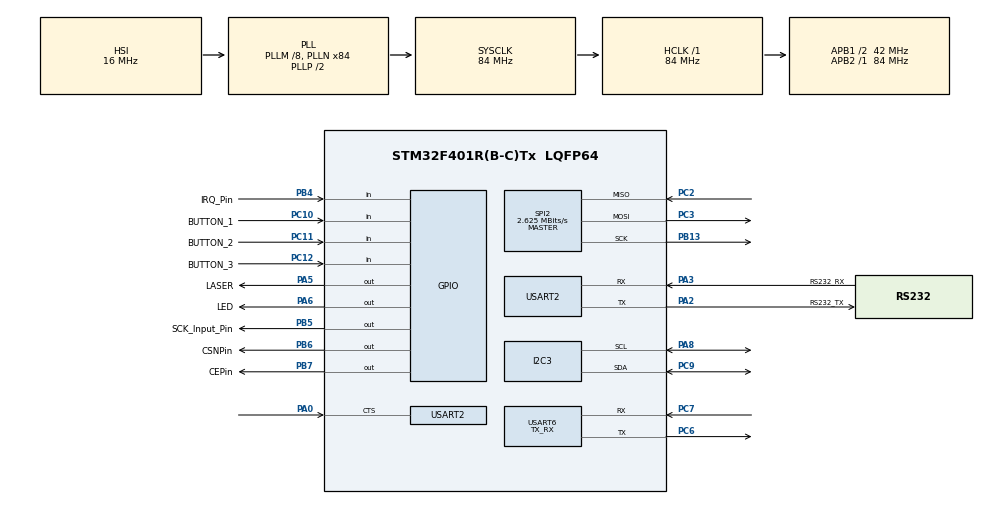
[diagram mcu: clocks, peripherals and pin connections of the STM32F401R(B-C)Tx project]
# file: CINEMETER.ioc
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I2C3.I2C_Mode=I2C_Fast
Mcu.Family=STM32F4
Mcu.Name=STM32F401R(B-C)Tx
Mcu.Package=LQFP64
NVIC.PriorityGroup=NVIC_PRIORITYGROUP_4
PA0-WKUP.Mode=CTS_Only
PA0-WKUP.Signal=USART2_CTS
PA13.Mode=Serial_Wire
PA13.Signal=SYS_JTMS-SWDIO
PA14.Mode=Serial_Wire
PA14.Signal=SYS_JTCK-SWCLK
PA2.GPIO_Label=RS232_TX
PA2.Mode=Asynchronous
PA2.Signal=USART2_TX
PA3.GPIO_Label=RS232_RX
PA3.Mode=Asynchronous
PA3.Signal=USART2_RX
PA5.GPIO_Label=LASER
PA5.Signal=GPIO_Output
PA6.GPIO_Label=LED
PA6.Signal=GPIO_Output
PA8.Mode=I2C
PA8.Signal=I2C3_SCL
PB13.Mode=Full_Duplex_Master
PB13.Signal=SPI2_SCK
PB3.Signal=SYS_JTDO-SWO
PB4.GPIO_Label=IRQ_Pin
PB4.Signal=GPIO_Input
PB5.GPIO_Label=SCK_Input_Pin
PB5.Signal=GPIO_Output
PB6.GPIO_Label=CSNPin
PB6.GPIO_Speed=GPIO_SPEED_FREQ_VERY_HIGH
PB6.Signal=GPIO_Output
PB7.GPIO_Label=CEPin 
PB7.GPIO_Speed=GPIO_SPEED_FREQ_VERY_HIGH
PB7.Signal=GPIO_Output
PC10.GPIO_Label=BUTTON_1
PC10.GPIO_PuPd=GPIO_PULLUP
PC10.Signal=GPIO_Input
PC11.GPIO_Label=BUTTON_2
PC11.GPIO_PuPd=GPIO_PULLUP
PC11.Signal=GPIO_Input
PC12.GPIO_Label=BUTTON_3
PC12.GPIO_PuPd=GPIO_PULLUP
PC12.Signal=GPIO_Input
PC2.Mode=Full_Duplex_Master
PC2.Signal=SPI2_MISO
PC3.Mode=Full_Duplex_Master
PC3.Signal=SPI2_MOSI
PC6.Mode=Asynchronous
PC6.Signal=USART6_TX
PC7.Mode=Asynchronous
PC7.Signal=USART6_RX
PC9.GPIO_Speed=GPIO_SPEED_FREQ_VERY_HIGH
PC9.Mode=I2C
PC9.Signal=I2C3_SDA
ProjectManager.HeapSize=0x200
ProjectManager.StackSize=0x400
ProjectManager.TargetToolchain=STM32CubeIDE
RCC.48MHZClocksFreq_Value=42000000
RCC.AHBFreq_Value=84000000
RCC.APB1CLKDivider=RCC_HCLK_DIV2
RCC.APB1Freq_Value=42000000
RCC.APB1TimFreq_Value=84000000
RCC.APB2Freq_Value=84000000
RCC.APB2TimFreq_Value=84000000
RCC.CortexFreq_Value=84000000
RCC.HCLKFreq_Value=84000000
RCC.HSE_VALUE=25000000
RCC.HSI_VALUE=16000000
RCC.LSE_VALUE=32768
RCC.PLLM=8
RCC.PLLN=84
RCC.SYSCLKFreq_VALUE=84000000
RCC.SYSCLKSource=RCC_SYSCLKSOURCE_PLLCLK
RCC.VCOOutputFreq_Value=168000000
SPI2.BaudRatePrescaler=SPI_BAUDRATEPRESCALER_16
SPI2.CalculateBaudRate=2.625 MBits/s
SPI2.Direction=SPI_DIRECTION_2LINES
SPI2.Mode=SPI_MODE_MASTER
SPI2.VirtualType=VM_MASTER
TIM10.Prescaler=8000-1
USART2.VirtualMode=VM_ASYNC
USART6.Mode=MODE_TX_RX
USART6.VirtualMode=VM_ASYNC
USART6.WordLength=WORDLENGTH_8B
VP_TIM10_VS_ClockSourceINT.Mode=Enable_Timer
board=custom

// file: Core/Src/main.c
/* USER CODE BEGIN Header */
/**
 ******************************************************************************
 * @file           : main.c
 * @brief          : Main program body
 ******************************************************************************
 * @attention
 *
 * Copyright (c) 2023 STMicroelectronics.
 * All rights reserved.
 *
 * This software is licensed under terms that can be found in the LICENSE file
 * in the root directory of this software component.
 * If no LICENSE file comes with this software, it is provided AS-IS.
 *
 ******************************************************************************
 */
/* USER CODE END Header */
#include "main.h"

/* USER CODE BEGIN Includes */
#include <stdbool.h>
#include "ssd1306.h"
#include "ssd1306_conf.h"
#include <stdio.h>
#include <string.h>
#include "stm32f4xx_hal.h"
#include "stm32f4xx_hal_uart.h"
#include "FLASH_SECTOR_F4.h"
#include "MY_NRF24.h"
#include "VL53L1X.h"
VL53L1X sensor1;
VL53L1X sensor2;
/* USER CODE END Includes */

I2C_HandleTypeDef hi2c3;

SPI_HandleTypeDef hspi2;

TIM_HandleTypeDef htim10;

UART_HandleTypeDef huart2;
UART_HandleTypeDef huart6;

/* USER CODE BEGIN PV */
#define USART_BUF_SIZE              9
#define LONG_PRESS_DURATION 100
#define LOW 0

// Constants

/*USART_BUFFER_SIZE*/
uint8_t usart_rx_buf[USART_BUF_SIZE];
// Constants

/*USART_BUFFER_SIZE*/
uint8_t usart_rx_buf[USART_BUF_SIZE];

/* USER CODE END PV */

void SystemClock_Config(void);
static void MX_GPIO_Init(void);
static void MX_SPI2_Init(void);
static void MX_USART2_UART_Init(void);
static void MX_USART6_UART_Init(void);
static void MX_I2C3_Init(void);
static void MX_TIM10_Init(void);

/* USER CODE BEGIN 0 */
const uint8_t HEADER = 0x59;
//char buffer[40];
char strength_buffer[20];
char ofst_buffer[20];
char tx_buffer[100];
char RS_buffer[100];
char rs232_1[20];
char rs232_2[20];
char dist_buffer[100];
char twosens[100];

char DistTransmit[20];
uint64_t TxpipeAddrs = 0x11223344AA;

uint16_t temp_d;
uint16_t timer_val;
double dist_rx;
#define TRUE  1
#define FALSE 0
//char dist_string[20];

uint16_t dist, strength = 0;
uint8_t checksum, chip_temp = 0;
uint32_t last_loop_time = 0;
const uint32_t LOOP_INTERVAL = 100;
const uint32_t LOOP_INTERVAL1 = 1000;
int count = 0;
int offset = 0;

int laser_on = 0;

int button1_pressed = 0;
int button2_pressed = 0;
int button3_pressed = 0;

int integer_part = 0;
int fractional_part = 0;

GPIO_TypeDef *Button1_Port = GPIOC;
GPIO_TypeDef *Button2_Port = GPIOC;
GPIO_TypeDef *Button3_Port = GPIOC;

uint16_t Button1_Pin = GPIO_PIN_11;
uint16_t Button2_Pin = GPIO_PIN_10;
uint16_t Button3_Pin = GPIO_PIN_12;

#define BUTTON_PORT          GPIOC
#define DEBOUNCE_INC_DELAY       0
#define DEBOUNCE_DEC_DELAY       80

#define BUTTON_UP_PIN GPIO_PIN_11
#define BUTTON_DOWN_PIN GPIO_PIN_12
#define BUTTON_SELECT_PIN GPIO_PIN_10

#define XSHUT_GPIO_Pin          8
#define XSHUT_GPIO_Port		GPIOB

#define XSHUT2_GPIO_Pin          9
#define XSHUT2_GPIO_Port		GPIOB

#define DISTANCE_THRESHOLD 3000
#define DISPLAY_DURATION_MS 200
#define ONE_SECOND 1000

//#define FLASH_USER_ADDR 0x0803000// Start address of the last sector (Sector 7, 16 Kbytes)
//#define FLASH_USER_END_ADDR 0x0803FFFF
//#define FLASH_USER_START_ADDR
// Define the structure to hold device settings

uint32_t lastButtonPressTime = 0;
#define BUTTON_DEBOUNCE_DELAY 400

GPIO_PinState button_state = GPIO_PIN_RESET;
GPIO_PinState prev_button_state = GPIO_PIN_RESET;
uint8_t selected_item = 0;
uint8_t button_press_count = 0;

uint32_t RX_Flash_Data[6];
char string[30];

uint8_t switch_counter = 0;
uint8_t max_counter = 25; // Anzahl der Messungen, bevor der Sensor gewechselt wird

// Functions for reading the button states.
// Note: These should be replaced by the actual functions you use to read the button states.

#define DEBOUNCE_TIME 50
#define LONG_PRESS_TIME 1000

typedef enum {
  STATE_IDLE,
  STATE_MENU,
  STATE_SETTING,
} state_t;

typedef enum {
  EVENT_NONE,
  EVENT_BUTTON_SHORT_PRESS,
  EVENT_BUTTON_LONG_PRESS,
} event_t;

state_t state = STATE_IDLE;
event_t event = EVENT_NONE;
int setting_index = 0;
char *settings[] = {"Setting 1", "Setting 2", "Setting 3"};
int settings_values[] = {0, 0, 0};

void handle_button() {
  static uint32_t button_press_timestamp = 0;
  static uint32_t button_release_timestamp = 0;
  static uint32_t last_button_press_timestamp = 0;
  static int button_released = 1;

  if (HAL_GPIO_ReadPin(GPIOC, GPIO_PIN_10) == GPIO_PIN_SET) {
    if (button_released) {
      button_released = 0;
      button_press_timestamp = HAL_GetTick();
      if (button_press_timestamp - last_button_press_timestamp <= DEBOUNCE_TIME) {
        event = EVENT_BUTTON_LONG_PRESS;
      }
      last_button_press_timestamp = button_press_timestamp;
    }
  } else {
    if (!button_released) {
      button_released = 1;
      button_release_timestamp = HAL_GetTick();
      if (button_release_timestamp - button_press_timestamp > LONG_PRESS_TIME) {
        event = EVENT_BUTTON_LONG_PRESS;
      } else {
        event = EVENT_BUTTON_SHORT_PRESS;
      }
    }
  }
}

void update_display() {
  ssd1306_Fill(Black);
  if (state == STATE_MENU) {
    for (int i = 0; i < sizeof(settings) / sizeof(settings[0]); i++) {
      ssd1306_SetCursor(2, 10 + 12 * i);
      if (i == setting_index) {
        ssd1306_WriteString(">", Font_7x10, White);
      }
      ssd1306_SetCursor(20, 10 + 12 * i);
      ssd1306_WriteString(settings[i], Font_7x10, White);
    }
  } else if (state == STATE_SETTING) {
    ssd1306_SetCursor(2, 10);
    ssd1306_WriteString(settings[setting_index], Font_7x10, White);
    ssd1306_SetCursor(2, 22);
    char buf[10];
    sprintf(buf, "%d", settings_values[setting_index]);
    ssd1306_WriteString(buf, Font_7x10, White);
  }
  ssd1306_UpdateScreen();
}

void HAL_GPIO_EXTI_Callback(uint16_t GPIO_Pin)
{
    if (GPIO_Pin == GPIO_PIN_11)
    {
        handle_button();
    }

    if (GPIO_Pin == GPIO_PIN_10)
    {
        if (state == STATE_MENU) {
            setting_index = (setting_index - 1 + sizeof(settings) / sizeof(settings[0])) % sizeof(settings) / sizeof(settings[0]);
            update_display();
        } else if (state == STATE_SETTING) {
            settings_values[setting_index]--;
            update_display();
        }
    }

    if (GPIO_Pin == GPIO_PIN_12)
    {
        if (state == STATE_MENU) {
            setting_index = (setting_index + 1) % sizeof(settings) / sizeof(settings[0]);
            update_display();
        } else if (state == STATE_SETTING) {
            settings_values[setting_index]++;
            update_display();
        }
    }
}

uint16_t read_distance() {
 // Initialize to a safe value
	static int last_valid_temp_d = 0;
	HAL_UART_Receive(&huart6, usart_rx_buf, 9, 1);
	if (usart_rx_buf[0] == HEADER && usart_rx_buf[1] == HEADER) {
		checksum = 0;               // Initialize the checksum variable to zero.
		for (int i = 0; i < 8; i++) {
			checksum += usart_rx_buf[i];
		}
		if (usart_rx_buf[8] == (checksum & 0xff)) {
			dist = usart_rx_buf[2] | (usart_rx_buf[3] << 8);
			strength = usart_rx_buf[4] | (usart_rx_buf[5] << 8);
			if (dist != temp_d) {
				int potential_temp_d = dist + offset;
				if (potential_temp_d <= 4500 && potential_temp_d >= 002
						&& potential_temp_d != 65535) {
					last_valid_temp_d = potential_temp_d; // Update the last valid temp_d
					temp_d = last_valid_temp_d;
				}

			}

		}
		static uint16_t prev_distance_mm = 0;
		uint16_t distance_mm = TOF_GetDistance(&sensor1);
		int diff_distance = abs((int) distance_mm - (int) prev_distance_mm); // Calculate the difference

	    // Check if the strength is above threshold, otherwise use temp_d

		if ((strength / 655) >= 9 && distance_mm / 1000 < 2) {
		    // For 'distance_mm', make sure it's less than 2 meters
		    prev_distance_mm = distance_mm; // Update the previous distance
		    int integer_part = distance_mm / 1000;
		    int fractional_part = ((distance_mm % 1000) / 10);
		    sprintf(tx_buffer, "S%d.%02d\r\n", integer_part, fractional_part);
		   // show_Display();
			if (integer_part >= 10) {
				sprintf(rs232_2, "|1%d%02d\r\n", integer_part, fractional_part);
			} else {
				sprintf(rs232_2, "|1 %d%02d\r\n", integer_part, fractional_part);
			}

			if (fractional_part = 00) {
				sprintf(rs232_2, "|1 010\r\n");
			}

		} else {
		    // For 'temp_d'
		    prev_distance_mm = temp_d; // Use temp_d instead
		    int integer_part = temp_d / 100;
		    int fractional_part = (temp_d % 100);
		    sprintf(tx_buffer, "L%d.%02d\r\n", integer_part, fractional_part);
		  //  show_Display();
			if (integer_part >= 10) {
				sprintf(rs232_2, "|1%d%02d\r\n", integer_part, fractional_part);
			} else {
				sprintf(rs232_2, "|1 %d%02d\r\n", integer_part, fractional_part);
			}

			if (fractional_part = 00) {
				sprintf(rs232_2, "|1 010\r\n");
			}

		}
		 show_Display();

	}

}

void show_Display() {

	//uint16_t distance = get_distance();

	sprintf(ofst_buffer, "%+d cm", offset, 0);
	sprintf(strength_buffer, "SGNL: %d", (strength / 655));
	// Update the display

	//sprintf(tx_buffer, "%d.%02d", integer_part, fractional_part);
	//sprintf(strength_buffer, "SENS: AUTO", );

	//HAL_UART_Transmit(&huart2, (uint8_t*)tx_buffer, strlen(tx_buffer), HAL_MAX_DELAY);
	// hier hin das mit dem display
	ssd1306_Fill(Black);
	ssd1306_SetCursor(0, 10);
	ssd1306_WriteString("OFST:", Font_7x10, White);
	ssd1306_SetCursor(50, 10);

	//
	ssd1306_WriteString(ofst_buffer, Font_7x10, White);

	ssd1306_SetCursor(0, 20);
	ssd1306_WriteString(strength_buffer, Font_7x10, White);

	ssd1306_SetCursor(0, 35);
	ssd1306_WriteString(tx_buffer, Font_16x24, White);
	ssd1306_SetCursor(90, 30);
	ssd1306_WriteString("M", Font_16x26, White);
	ssd1306_SetCursor(90, 20);
	ssd1306_WriteString("METER", Font_7x10, White);
	ssd1306_UpdateScreen();

}

void process_distance(){
	uint16_t distance1 = TOF_GetDistance(&sensor1);
	uint16_t distance2 = TOF_GetDistance(&sensor2);
	 sprintf(twosens, "SENS1:%d\r\n SENS2: %d\r\n", distance1, distance2);
	 HAL_UART_Transmit(&huart2, (uint8_t*) twosens, strlen(twosens),
	 		HAL_MAX_DELAY);
}

void RS232() {

	sprintf(rs232_1, "|0  60\r\n");

	if (__HAL_TIM_GET_COUNTER(&htim10) - timer_val >= 500) {
//		HAL_Delay(100);

		HAL_UART_Transmit(&huart2, (uint8_t*) rs232_1, strlen(rs232_1),
		HAL_MAX_DELAY);
//		HAL_Delay(100);
		HAL_UART_Transmit(&huart2, (uint8_t*) rs232_2, strlen(rs232_2),
		HAL_MAX_DELAY);
		timer_val = __HAL_TIM_GET_COUNTER(&htim10);
	}
}

// GET BUTTON STATUS

void modifyOffset(int *offset) {
	static uint8_t debounceFlag = 0;
	if (HAL_GPIO_ReadPin(BUTTON_PORT, GPIO_PIN_12) == GPIO_PIN_SET
			&& debounceFlag == 0) {
		(*offset)++;
		debounceFlag = 1;
		show_Display();
		HAL_Delay(DEBOUNCE_INC_DELAY);
	} else if (HAL_GPIO_ReadPin(BUTTON_PORT, GPIO_PIN_11) == GPIO_PIN_SET
			&& debounceFlag == 0) {
		(*offset)--;
		debounceFlag = 1;
		show_Display();
		HAL_Delay(DEBOUNCE_DEC_DELAY);
	}

	if (HAL_GPIO_ReadPin(BUTTON_PORT, GPIO_PIN_12) == GPIO_PIN_RESET
			&& HAL_GPIO_ReadPin(BUTTON_PORT, GPIO_PIN_11) == GPIO_PIN_RESET) {
		debounceFlag = 0;
	}

}

void laser(uint8_t status) {
	if (status) {
		HAL_GPIO_WritePin(GPIOA, GPIO_PIN_5, GPIO_PIN_SET);
	} else {
		HAL_GPIO_WritePin(GPIOA, GPIO_PIN_5, GPIO_PIN_RESET);
	}
}

void read_laser() {

	if (HAL_GPIO_ReadPin(BUTTON_PORT, GPIO_PIN_10) == GPIO_PIN_SET) {

		laser(1);  // Turn ON the laser
	} else {
		laser(0);  // Turn OFF the laser
	}
}

// SAVE TO FLASH

// TRANSMIT DIST DATA

void TransmitData() {
	sprintf(DistTransmit, "%d", temp_d);
	if (__HAL_TIM_GET_COUNTER(&htim10) - timer_val >= 500) {

		NRF24_write(DistTransmit, 20);
		timer_val = __HAL_TIM_GET_COUNTER(&htim10);
	}

}
/* USER CODE END 0 */

int main(void)
{

  /* MCU Configuration--------------------------------------------------------*/

  /* Reset of all peripherals, Initializes the Flash interface and the Systick. */
  HAL_Init();

  /* Configure the system clock */
  SystemClock_Config();

  /* Initialize all configured peripherals */
  MX_GPIO_Init();
  MX_SPI2_Init();
  MX_USART2_UART_Init();
  MX_USART6_UART_Init();
  MX_I2C3_Init();
  MX_TIM10_Init();
  /* USER CODE BEGIN 2 */
//    uint32_t uint_offset = (uint32_t)offset;
//    int numofwords = (strlen(offset)/4)+((strlen(offset)%4)!=0);
	HAL_TIM_Base_Start(&htim10);
	/* USER CODE END 2 */
	timer_val = __HAL_TIM_GET_COUNTER(&htim10);

	sprintf(rs232_1, "|0  60\r\n");

	sprintf(rs232_2, "|1 187\r\n");
//	sprintf(rs232_2, "|1 021\r\n");

	HAL_Delay(100);
	HAL_UART_Transmit(&huart2, (uint8_t*) rs232_1, strlen(rs232_1),
	HAL_MAX_DELAY);
	HAL_Delay(100);
	HAL_UART_Transmit(&huart2, (uint8_t*) rs232_2, strlen(rs232_2),
	HAL_MAX_DELAY);

	ssd1306_Init();
	ssd1306_WriteCommand(0xC0);
	ssd1306_WriteCommand(0xA0);
	LogoAnimation();

	TOF_InitStruct(&sensor1, &hi2c3, 0x32, XSHUT_GPIO_Port, XSHUT_GPIO_Pin);
	TOF_InitStruct(&sensor2, &hi2c3, 0x52, XSHUT2_GPIO_Port, XSHUT2_GPIO_Pin);

	VL53L1X* sensors[] = {&sensor1, &sensor2};
	TOF_BootMultipleSensors(sensors, 2);

	/* NRF BEGIN

	 NRF24_begin(GPIOB, GPIO_PIN_6, GPIO_PIN_7, hspi2);
	 nrf24_DebugUART_Init(huart2);

	 printRadioSettings();
	 NRF24_stopListening();
	 NRF24_openWritingPipe(TxpipeAddrs);
	 NRF24_setAutoAck(false);
	 NRF24_setChannel(1);
	 NRF24_setPayloadSize(20);
	 */

	/* USER CODE END 2 */

	/* Infinite loop */
	/* USER CODE BEGIN WHILE */

	temp_d = 0;
	prev_button_state = button_state;

	while (1) {

//		 read_distance();

//		get_distance();
//		read_data_VL53L1();
//		 modifyOffset(&offset);
//		 RS232();
//	   	 HAL_GPIO_TogglePin(GPIOA, LED_Pin);
//		 read_laser();
//		process_distance();
//		print_distance();
//		read_data_VL53L1();
//		Offset_write_to_flash(offset);

		if (event == EVENT_BUTTON_SHORT_PRESS) {
		      if (state == STATE_IDLE) {
		        state = STATE_MENU;
		      } else if (state == STATE_MENU) {
		        state = STATE_SETTING;
		      } else if (state == STATE_SETTING) {
		        state = STATE_MENU;
		      }
		      update_display();
		      event = EVENT_NONE;
		    } else if (event == EVENT_BUTTON_LONG_PRESS) {
		      if (state == STATE_MENU) {
		        state = STATE_IDLE;
		      }
		      update_display();
		      event = EVENT_NONE;
		    }

	}

}

void SystemClock_Config(void)
{
  RCC_OscInitTypeDef RCC_OscInitStruct = {0};
  RCC_ClkInitTypeDef RCC_ClkInitStruct = {0};

  /** Configure the main internal regulator output voltage
  */
  __HAL_RCC_PWR_CLK_ENABLE();
  __HAL_PWR_VOLTAGESCALING_CONFIG(PWR_REGULATOR_VOLTAGE_SCALE2);

  /** Initializes the RCC Oscillators according to the specified parameters
  * in the RCC_OscInitTypeDef structure.
  */
  RCC_OscInitStruct.OscillatorType = RCC_OSCILLATORTYPE_HSI;
  RCC_OscInitStruct.HSIState = RCC_HSI_ON;
  RCC_OscInitStruct.HSICalibrationValue = RCC_HSICALIBRATION_DEFAULT;
  RCC_OscInitStruct.PLL.PLLState = RCC_PLL_ON;
  RCC_OscInitStruct.PLL.PLLSource = RCC_PLLSOURCE_HSI;
  RCC_OscInitStruct.PLL.PLLM = 8;
  RCC_OscInitStruct.PLL.PLLN = 84;
  RCC_OscInitStruct.PLL.PLLP = RCC_PLLP_DIV2;
  RCC_OscInitStruct.PLL.PLLQ = 4;
  if (HAL_RCC_OscConfig(&RCC_OscInitStruct) != HAL_OK)
  {
    Error_Handler();
  }

  /** Initializes the CPU, AHB and APB buses clocks
  */
  RCC_ClkInitStruct.ClockType = RCC_CLOCKTYPE_HCLK|RCC_CLOCKTYPE_SYSCLK
                              |RCC_CLOCKTYPE_PCLK1|RCC_CLOCKTYPE_PCLK2;
  RCC_ClkInitStruct.SYSCLKSource = RCC_SYSCLKSOURCE_PLLCLK;
  RCC_ClkInitStruct.AHBCLKDivider = RCC_SYSCLK_DIV1;
  RCC_ClkInitStruct.APB1CLKDivider = RCC_HCLK_DIV2;
  RCC_ClkInitStruct.APB2CLKDivider = RCC_HCLK_DIV1;

  if (HAL_RCC_ClockConfig(&RCC_ClkInitStruct, FLASH_LATENCY_2) != HAL_OK)
  {
    Error_Handler();
  }
}

static void MX_I2C3_Init(void)
{

  hi2c3.Instance = I2C3;
  hi2c3.Init.ClockSpeed = 400000;
  hi2c3.Init.DutyCycle = I2C_DUTYCYCLE_2;
  hi2c3.Init.OwnAddress1 = 0;
  hi2c3.Init.AddressingMode = I2C_ADDRESSINGMODE_7BIT;
  hi2c3.Init.DualAddressMode = I2C_DUALADDRESS_DISABLE;
  hi2c3.Init.OwnAddress2 = 0;
  hi2c3.Init.GeneralCallMode = I2C_GENERALCALL_DISABLE;
  hi2c3.Init.NoStretchMode = I2C_NOSTRETCH_DISABLE;
  if (HAL_I2C_Init(&hi2c3) != HAL_OK)
  {
    Error_Handler();
  }

}

static void MX_SPI2_Init(void)
{

  /* SPI2 parameter configuration*/
  hspi2.Instance = SPI2;
  hspi2.Init.Mode = SPI_MODE_MASTER;
  hspi2.Init.Direction = SPI_DIRECTION_2LINES;
  hspi2.Init.DataSize = SPI_DATASIZE_8BIT;
  hspi2.Init.CLKPolarity = SPI_POLARITY_LOW;
  hspi2.Init.CLKPhase = SPI_PHASE_1EDGE;
  hspi2.Init.NSS = SPI_NSS_SOFT;
  hspi2.Init.BaudRatePrescaler = SPI_BAUDRATEPRESCALER_16;
  hspi2.Init.FirstBit = SPI_FIRSTBIT_MSB;
  hspi2.Init.TIMode = SPI_TIMODE_DISABLE;
  hspi2.Init.CRCCalculation = SPI_CRCCALCULATION_DISABLE;
  hspi2.Init.CRCPolynomial = 10;
  if (HAL_SPI_Init(&hspi2) != HAL_OK)
  {
    Error_Handler();
  }

}

static void MX_TIM10_Init(void)
{

  htim10.Instance = TIM10;
  htim10.Init.Prescaler = 8000-1;
  htim10.Init.CounterMode = TIM_COUNTERMODE_UP;
  htim10.Init.Period = 65535;
  htim10.Init.ClockDivision = TIM_CLOCKDIVISION_DIV1;
  htim10.Init.AutoReloadPreload = TIM_AUTORELOAD_PRELOAD_DISABLE;
  if (HAL_TIM_Base_Init(&htim10) != HAL_OK)
  {
    Error_Handler();
  }

}

static void MX_USART2_UART_Init(void)
{

  huart2.Instance = USART2;
  huart2.Init.BaudRate = 115200;
  huart2.Init.WordLength = UART_WORDLENGTH_8B;
  huart2.Init.StopBits = UART_STOPBITS_1;
  huart2.Init.Parity = UART_PARITY_NONE;
  huart2.Init.Mode = UART_MODE_TX_RX;
  huart2.Init.HwFlowCtl = UART_HWCONTROL_CTS;
  huart2.Init.OverSampling = UART_OVERSAMPLING_16;
  if (HAL_UART_Init(&huart2) != HAL_OK)
  {
    Error_Handler();
  }

}

static void MX_USART6_UART_Init(void)
{

  huart6.Instance = USART6;
  huart6.Init.BaudRate = 115200;
  huart6.Init.WordLength = UART_WORDLENGTH_8B;
  huart6.Init.StopBits = UART_STOPBITS_1;
  huart6.Init.Parity = UART_PARITY_NONE;
  huart6.Init.Mode = UART_MODE_TX_RX;
  huart6.Init.HwFlowCtl = UART_HWCONTROL_NONE;
  huart6.Init.OverSampling = UART_OVERSAMPLING_16;
  if (HAL_UART_Init(&huart6) != HAL_OK)
  {
    Error_Handler();
  }

}

static void MX_GPIO_Init(void)
{
  GPIO_InitTypeDef GPIO_InitStruct = {0};

  /* GPIO Ports Clock Enable */
  __HAL_RCC_GPIOC_CLK_ENABLE();
  __HAL_RCC_GPIOA_CLK_ENABLE();
  __HAL_RCC_GPIOB_CLK_ENABLE();

  /*Configure GPIO pin Output Level */
  HAL_GPIO_WritePin(GPIOA, LASER_Pin|LED_Pin, GPIO_PIN_RESET);

  /*Configure GPIO pin Output Level */
  HAL_GPIO_WritePin(GPIOB, SCK_Input_Pin_Pin|CSNPin_Pin|CEPin_Pin, GPIO_PIN_RESET);

  /*Configure GPIO pins : LASER_Pin LED_Pin */
  GPIO_InitStruct.Pin = LASER_Pin|LED_Pin;
  GPIO_InitStruct.Mode = GPIO_MODE_OUTPUT_PP;
  GPIO_InitStruct.Pull = GPIO_NOPULL;
  GPIO_InitStruct.Speed = GPIO_SPEED_FREQ_LOW;
  HAL_GPIO_Init(GPIOA, &GPIO_InitStruct);

  /*Configure GPIO pins : BUTTON_1_Pin BUTTON_2_Pin BUTTON_3_Pin */
  GPIO_InitStruct.Pin = BUTTON_1_Pin|BUTTON_2_Pin|BUTTON_3_Pin;
  GPIO_InitStruct.Mode = GPIO_MODE_INPUT;
  GPIO_InitStruct.Pull = GPIO_PULLUP;
  HAL_GPIO_Init(GPIOC, &GPIO_InitStruct);

  /*Configure GPIO pin : IRQ_Pin_Pin */
  GPIO_InitStruct.Pin = IRQ_Pin_Pin;
  GPIO_InitStruct.Mode = GPIO_MODE_INPUT;
  GPIO_InitStruct.Pull = GPIO_NOPULL;
  HAL_GPIO_Init(IRQ_Pin_GPIO_Port, &GPIO_InitStruct);

  /*Configure GPIO pin : SCK_Input_Pin_Pin */
  GPIO_InitStruct.Pin = SCK_Input_Pin_Pin;
  GPIO_InitStruct.Mode = GPIO_MODE_OUTPUT_PP;
  GPIO_InitStruct.Pull = GPIO_NOPULL;
  GPIO_InitStruct.Speed = GPIO_SPEED_FREQ_LOW;
  HAL_GPIO_Init(SCK_Input_Pin_GPIO_Port, &GPIO_InitStruct);

  /*Configure GPIO pins : CSNPin_Pin CEPin_Pin */
  GPIO_InitStruct.Pin = CSNPin_Pin|CEPin_Pin;
  GPIO_InitStruct.Mode = GPIO_MODE_OUTPUT_PP;
  GPIO_InitStruct.Pull = GPIO_NOPULL;
  GPIO_InitStruct.Speed = GPIO_SPEED_FREQ_VERY_HIGH;
  HAL_GPIO_Init(GPIOB, &GPIO_InitStruct);

}

/* USER CODE BEGIN 4 */

/*

 void display_menu() {

 ssd1306_Fill(Black);
 ssd1306_SetCursor(0, 0);
 ssd1306_WriteString("MENU", Font_7x10, White);

 for (int i = 0; i < NUM_OPTIONS; i++) {
 if (i == selected_option) {
 ssd1306_WriteString("> ", Font_7x10, White);
 } else {
 ssd1306_WriteString("  ", Font_7x10, White);
 }
 ssd1306_WriteString(options[i], Font_7x10, White);
 ssd1306_SetCursor(28, (i+1)*12);
 }

 ssd1306_UpdateScreen();
 }

 */

#ifdef __GNUC__
/* With GCC/RAISONANCE, small printf (option LD Linker->Libraries->Small printf
 set to 'Yes') calls __io_putchar() */
#define PUTCHAR_PROTOTYPE int __io_putchar(int ch)
#else
#define PUTCHAR_PROTOTYPE int fputc(int ch, FILE *f)
#endif /* __GNUC__ */

PUTCHAR_PROTOTYPE {
	/* Place your implementation of fputc here */
	/* e.g. write a character to the EVAL_COM1 and Loop until the end of transmission */
	HAL_UART_Transmit(&huart2, (uint8_t*) &ch, 1, HAL_MAX_DELAY); // If you want to direct printf to some other ports let say uart1 or 6 then change the first param.

	return ch;
}

/* USER CODE END 4 */

void Error_Handler(void)
{
	__disable_irq();
	while (1) {
	}
}
